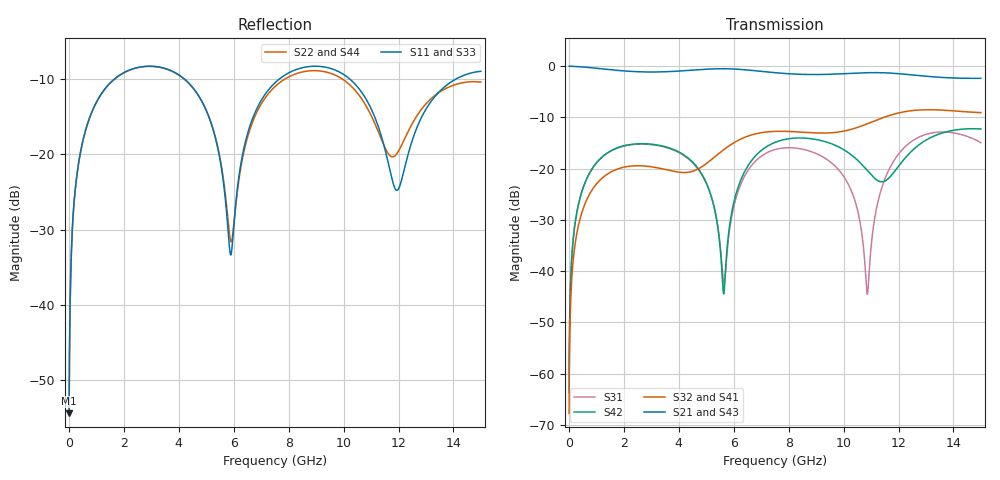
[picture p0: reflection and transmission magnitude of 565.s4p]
! Created with skrf 1.8.0 (http://scikit-rf.org).
# GHz S RI R 50.0
!freq ReS11 ImS11 ReS12 ImS12 ReS13 ImS13
! ReS14 ImS14
! ReS21 ImS21 ReS22 ImS22 ReS23 ImS23
! ReS24 ImS24
! ReS31 ImS31 ReS32 ImS32 ReS33 ImS33
! ReS34 ImS34
! ReS41 ImS41 ReS42 ImS42 ReS43 ImS43
! ReS44 ImS44
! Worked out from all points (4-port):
!   2499 points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, 5 MHz to 15 GHz, reference 50 ohm
!   strongest paths, dB at 5 MHz, 3.476 GHz, 7.19 GHz, 11.1 GHz, 15 GHz:
!     S21: 0.0, -1.1, -1.1, -1.3, -2.4
!     S43: 0.0, -1.1, -1.1, -1.3, -2.4
!     S32: -67.7, -20.1, -12.9, -10.8, -9.1
!     S41: -67.7, -20.3, -12.9, -10.8, -9.2
!     S42: -63.6, -15.7, -15.7, -21.7, -12.3
!     S31: -63.6, -15.8, -17.0, -30.9, -14.9
!   lowest |S11| = -54.4 dB at 5 MHz (marker M1), VSWR 1.00, Z = 50.2 + j0.115 ohm
!   |S11| at or under -10 dB: start of sweep to 1.644 GHz; 4.216 GHz to 7.647 GHz (3.431 GHz wide, 57.9 % of centre); 10.24 GHz to 14.07 GHz (3.838 GHz wide, 31.6 % of centre)
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0.005  0.00152 0.00114  0.9985 -0.00295  7.77e-05 0.000658  -7.52e-05 -0.000403
       0.9985 -0.00295  0.00152 0.00114  -7.52e-05 -0.000403  7.78e-05 0.000658
       7.77e-05 0.000658  -7.52e-05 -0.000403  0.00152 0.00114  0.9985 -0.00295
       -7.52e-05 -0.000403  7.78e-05 0.000658  0.9985 -0.00295  0.00152 0.00114
0.3126303  0.0212 0.0758  0.9711 -0.1843  0.0102 0.0394  -0.00853 -0.0239
           0.9711 -0.1843  0.0211 0.0758  -0.00854 -0.0239  0.0105 0.0393
           0.0102 0.0394  -0.00854 -0.0239  0.0212 0.0758  0.9711 -0.1843
           -0.00853 -0.0239  0.0105 0.0393  0.9711 -0.1843  0.0211 0.0758
1.569404  0.2484 0.1814  0.5924 -0.7017  0.1299 0.0762  -0.0928 -0.0135
          0.5924 -0.7017  0.2472 0.1821  -0.0931 -0.0133  0.1327 0.0728
          0.1299 0.0762  -0.0931 -0.0133  0.2482 0.1815  0.5925 -0.7016
          -0.0928 -0.0135  0.1327 0.0728  0.5925 -0.7016  0.2474 0.182
5.633597  0.0289 -0.0564  -0.9166 -0.2194  -0.0075 -0.00169  -0.0335 0.1491
          -0.9166 -0.2194  0.0344 -0.0571  -0.0283 0.1502  0.00596 -0.000662
          -0.0075 -0.00169  -0.0283 0.1502  0.0309 -0.0567  -0.9165 -0.2197
          -0.0335 0.1491  0.00596 -0.000662  -0.9165 -0.2197  0.0328 -0.0583
9.260108  0.3785 -0.0583  0.029 0.8288  0.1204 -0.0474  0.2114 -0.0588
          0.029 0.8288  0.3555 -0.0296  0.2108 -0.0708  0.1218 -0.1399
          0.1204 -0.0474  0.2108 -0.0708  0.3742 -0.0579  0.0292 0.8298
          0.2114 -0.0588  0.1218 -0.1399  0.0292 0.8298  0.3544 -0.0311
10.86703  0.151 -0.1671  0.651 0.5654  -0.00548 -0.00228  0.1804 -0.2058
          0.651 0.5654  0.1641 -0.1197  0.1669 -0.2172  -0.0625 -0.0725
          -0.00548 -0.00228  0.1669 -0.2172  0.1493 -0.1641  0.6524 0.565
          0.1804 -0.2058  -0.0625 -0.0725  0.6524 0.565  0.1594 -0.1192
15  0.357 -0.0175  0.1383 -0.7476  0.1728 -0.0464  -0.3448 -0.00123
    0.1383 -0.7476  0.3024 -0.0178  -0.3507 0.0284  0.1783 -0.1659
    0.1728 -0.0464  -0.3507 0.0284  0.345 -0.0117  0.1381 -0.7495
    -0.3448 -0.00123  0.1783 -0.1659  0.1381 -0.7495  0.3045 -0.029
